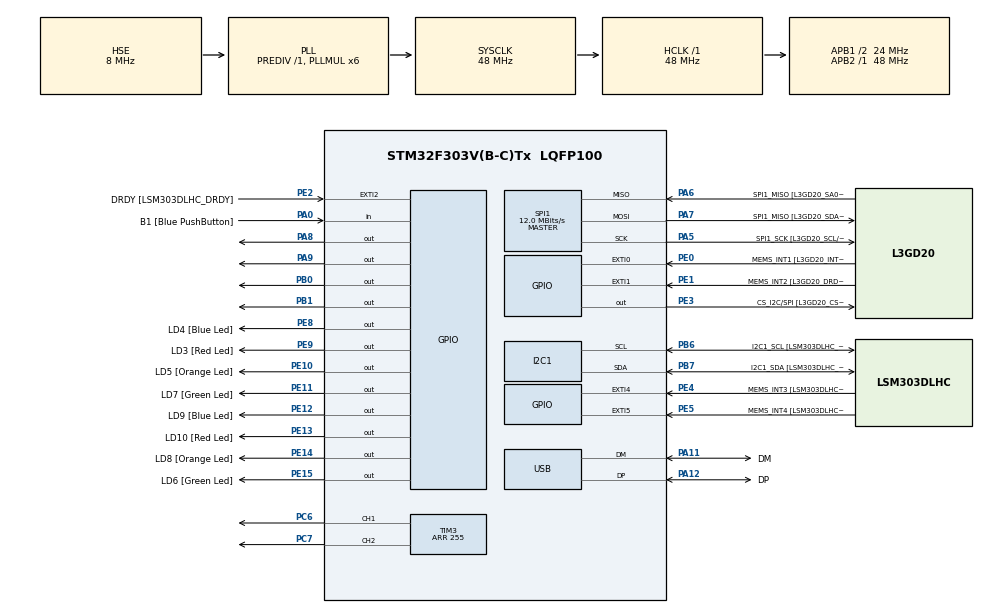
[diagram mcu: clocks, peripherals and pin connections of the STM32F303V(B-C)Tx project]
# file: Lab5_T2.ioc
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I2C1.Timing=0x2000090E
I2C1.Timing-I2C=0x2000090E
Mcu.Family=STM32F3
Mcu.Name=STM32F303V(B-C)Tx
Mcu.Package=LQFP100
NVIC.PriorityGroup=NVIC_PRIORITYGROUP_0
NVIC.TIM3_IRQn=true\:0\:0\:false\:false\:true\:true\:true\:true
PA0.GPIO_Label=B1 [Blue PushButton]
PA0.Signal=GPIO_Input
PA11.GPIO_Label=DM
PA11.Mode=Device
PA11.Signal=USB_DM
PA12.GPIO_Label=DP
PA12.Mode=Device
PA12.Signal=USB_DP
PA13.GPIO_Label=SWDIO
PA13.Mode=Serial_Wire
PA13.Signal=SYS_JTMS-SWDIO
PA14.GPIO_Label=SWCLK
PA14.Mode=Serial_Wire
PA14.Signal=SYS_JTCK-SWCLK
PA5.GPIO_Label=SPI1_SCK [L3GD20_SCL/SPC]
PA5.Mode=Full_Duplex_Master
PA5.Signal=SPI1_SCK
PA6.GPIO_Label=SPI1_MISO [L3GD20_SA0/SDO]
PA6.Mode=Full_Duplex_Master
PA6.Signal=SPI1_MISO
PA7.GPIO_Label=SPI1_MISO [L3GD20_SDA/SDI/SDO]
PA7.Mode=Full_Duplex_Master
PA7.Signal=SPI1_MOSI
PA8.Signal=GPIO_Output
PA9.Signal=GPIO_Output
PB0.Signal=GPIO_Output
PB1.Signal=GPIO_Output
PB3.GPIO_Label=SWO
PB3.Signal=SYS_JTDO-TRACESWO
PB6.GPIO_Label=I2C1_SCL [LSM303DLHC_SCL]
PB6.GPIO_Pu=GPIO_PULLUP
PB6.Mode=I2C
PB6.Signal=I2C1_SCL
PB7.GPIO_Label=I2C1_SDA [LSM303DLHC_SDA]
PB7.GPIO_Pu=GPIO_PULLUP
PB7.Mode=I2C
PB7.Signal=I2C1_SDA
PC14-OSC32_IN.GPIO_Label=OSC32_IN
PC14-OSC32_IN.Signal=RCC_OSC32_IN
PC15-OSC32_OUT.GPIO_Label=OSC32_OUT
PC15-OSC32_OUT.Signal=RCC_OSC32_OUT
PC6.Signal=S_TIM3_CH1
PC7.Signal=S_TIM3_CH2
PE0.GPIO_Label=MEMS_INT1 [L3GD20_INT1]
PE0.GPIO_ModeDefaultEXTI=GPIO_MODE_EVT_RISING
PE0.Signal=GPXTI0
PE1.GPIO_Label=MEMS_INT2 [L3GD20_DRDY/INT2]
PE1.GPIO_ModeDefaultEXTI=GPIO_MODE_EVT_RISING
PE1.Signal=GPXTI1
PE10.GPIO_Label=LD5 [Orange Led]
PE10.Signal=GPIO_Output
PE11.GPIO_Label=LD7 [Green Led]
PE11.Signal=GPIO_Output
PE12.GPIO_Label=LD9 [Blue Led]
PE12.Signal=GPIO_Output
PE13.GPIO_Label=LD10 [Red Led]
PE13.Signal=GPIO_Output
PE14.GPIO_Label=LD8 [Orange Led]
PE14.Signal=GPIO_Output
PE15.GPIO_Label=LD6 [Green Led]
PE15.Signal=GPIO_Output
PE2.GPIO_Label=DRDY [LSM303DLHC_DRDY]
PE2.GPIO_ModeDefaultEXTI=GPIO_MODE_EVT_RISING
PE2.Signal=GPXTI2
PE3.GPIO_Label=CS_I2C/SPI [L3GD20_CS_I2C/SPI]
PE3.Signal=GPIO_Output
PE4.GPIO_Label=MEMS_INT3 [LSM303DLHC_INT1]
PE4.GPIO_ModeDefaultEXTI=GPIO_MODE_EVT_RISING
PE4.Signal=GPXTI4
PE5.GPIO_Label=MEMS_INT4 [LSM303DLHC_INT2]
PE5.GPIO_ModeDefaultEXTI=GPIO_MODE_EVT_RISING
PE5.Signal=GPXTI5
PE8.GPIO_Label=LD4 [Blue Led]
PE8.Signal=GPIO_Output
PE9.GPIO_Label=LD3 [Red Led]
PE9.Signal=GPIO_Output
PF0-OSC_IN.GPIO_Label=OSC_IN
PF0-OSC_IN.Mode=HSE-External-Clock-Source
PF0-OSC_IN.Signal=RCC_OSC_IN
PF1-OSC_OUT.GPIO_Label=OSC_OUT
PF1-OSC_OUT.Signal=RCC_OSC_OUT
ProjectManager.HeapSize=0x200
ProjectManager.StackSize=0x400
ProjectManager.TargetToolchain=CMake
RCC.AHBFreq_Value=48000000
RCC.APB1CLKDivider=RCC_HCLK_DIV2
RCC.APB1Freq_Value=24000000
RCC.APB1TimFreq_Value=48000000
RCC.APB2Freq_Value=48000000
RCC.APB2TimFreq_Value=48000000
RCC.CortexFreq_Value=48000000
RCC.HCLKFreq_Value=48000000
RCC.HSE_VALUE=8000000
RCC.HSI_VALUE=8000000
RCC.LSE_VALUE=32768
RCC.PLLMUL=RCC_PLL_MUL6
RCC.SYSCLKFreq_VALUE=48000000
RCC.SYSCLKSourceVirtual=RCC_SYSCLKSOURCE_PLLCLK
RCC.USBFreq_Value=48000000
SH.S_TIM3_CH1.0=TIM3_CH1,PWM Generation1 CH1
SH.S_TIM3_CH2.0=TIM3_CH2,PWM Generation2 CH2
SPI1.BaudRatePrescaler=SPI_BAUDRATEPRESCALER_4
SPI1.BaudRatePrescaler-Full_Duplex_Master=SPI_BAUDRATEPRESCALER_2
SPI1.CalculateBaudRate=12.0 MBits/s
SPI1.CalculateBaudRate-Full_Duplex_Master=24.0 MBits/s
SPI1.Direction=SPI_DIRECTION_2LINES
SPI1.Mode=SPI_MODE_MASTER
SPI1.Mode-Full_Duplex_Master=SPI_MODE_MASTER
SPI1.VirtualType=VM_MASTER
TIM3.Channel-PWM\ Generation1\ CH1=TIM_CHANNEL_1
TIM3.Channel-PWM\ Generation2\ CH2=TIM_CHANNEL_2
TIM3.Period=255
board=STM32F3DISCOVERY

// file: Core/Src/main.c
/* USER CODE BEGIN Header */
/**
  ******************************************************************************
  * @file           : main.c
  * @brief          : Main program body
  ******************************************************************************
  * @attention
  *
  * Copyright (c) 2026 STMicroelectronics.
  * All rights reserved.
  *
  * This software is licensed under terms that can be found in the LICENSE file
  * in the root directory of this software component.
  * If no LICENSE file comes with this software, it is provided AS-IS.
  *
  ******************************************************************************
  */
/* USER CODE END Header */
#include "main.h"

I2C_HandleTypeDef hi2c1;
SPI_HandleTypeDef hspi1;
TIM_HandleTypeDef htim3;
PCD_HandleTypeDef hpcd_USB_FS;

/* USER CODE BEGIN PV */
uint8_t motor_speed = 0;
int8_t speed_direction = 1;
/* USER CODE END PV */

void SystemClock_Config(void);
static void MX_GPIO_Init(void);
static void MX_I2C1_Init(void);
static void MX_SPI1_Init(void);
static void MX_TIM3_Init(void);
static void MX_USB_PCD_Init(void);
/* USER CODE BEGIN PFP */
void set_motor_speed(uint8_t left_speed, uint8_t right_speed);
void set_motor_direction(uint8_t direction);
/* USER CODE END PFP */

int main(void)
{

  /* MCU Configuration--------------------------------------------------------*/

  /* Reset of all peripherals, Initializes the Flash interface and the Systick. */
  HAL_Init();

  /* Configure the system clock */
  SystemClock_Config();

  /* Initialize all configured peripherals */
  MX_GPIO_Init();
  MX_I2C1_Init();
  MX_SPI1_Init();
  MX_TIM3_Init();
  MX_USB_PCD_Init();
  /* USER CODE BEGIN 2 */

  // Start PWM for both motors
  HAL_TIM_PWM_Start(&htim3, TIM_CHANNEL_1);  // Left motor PWM (D9)
  HAL_TIM_PWM_Start(&htim3, TIM_CHANNEL_2);  // Right motor PWM (D10)

  // Set initial direction: FORWARD
  // D12 = HIGH, D8 = LOW for right motor forward
  // D7 = HIGH, D6 = LOW for left motor forward
  HAL_GPIO_WritePin(GPIOA, GPIO_PIN_8, GPIO_PIN_SET);   // D12 = HIGH (Right dir)
  HAL_GPIO_WritePin(GPIOA, GPIO_PIN_9, GPIO_PIN_RESET); // D8 = LOW (Right dir)
  HAL_GPIO_WritePin(GPIOB, GPIO_PIN_0, GPIO_PIN_SET);   // D7 = HIGH (Left dir)
  HAL_GPIO_WritePin(GPIOB, GPIO_PIN_1, GPIO_PIN_RESET); // D6 = LOW (Left dir)

  // Initial speed at 50%
  set_motor_speed(127, 127);

  HAL_Delay(1000); // Wait 1 second before starting ramp

  /* USER CODE END 2 */

  /* Infinite loop */
  /* USER CODE BEGIN WHILE */
  while (1)
  {
    // Ramp speed up and down continuously
    motor_speed += speed_direction;

    // Reverse direction at limits
    if (motor_speed >= 250) {
      speed_direction = -1;
    } else if (motor_speed <= 5) {
      speed_direction = 1;

      // Every time we hit bottom, change direction
      static uint8_t dir_counter = 0;
      dir_counter++;

      if (dir_counter % 2 == 0) {
        // FORWARD
        HAL_GPIO_WritePin(GPIOA, GPIO_PIN_8, GPIO_PIN_SET);
        HAL_GPIO_WritePin(GPIOA, GPIO_PIN_9, GPIO_PIN_RESET);
        HAL_GPIO_WritePin(GPIOB, GPIO_PIN_0, GPIO_PIN_SET);
        HAL_GPIO_WritePin(GPIOB, GPIO_PIN_1, GPIO_PIN_RESET);
      } else {
        // BACKWARD
        HAL_GPIO_WritePin(GPIOA, GPIO_PIN_8, GPIO_PIN_RESET);
        HAL_GPIO_WritePin(GPIOA, GPIO_PIN_9, GPIO_PIN_SET);
        HAL_GPIO_WritePin(GPIOB, GPIO_PIN_0, GPIO_PIN_RESET);
        HAL_GPIO_WritePin(GPIOB, GPIO_PIN_1, GPIO_PIN_SET);
      }
    }

    // Apply the current speed to both motors
    set_motor_speed(motor_speed, motor_speed);

    // Small delay for smooth ramp (adjust for desired ramp speed)
    HAL_Delay(20);

    /* USER CODE END WHILE */

  }
}

void SystemClock_Config(void)
{
  RCC_OscInitTypeDef RCC_OscInitStruct = {0};
  RCC_ClkInitTypeDef RCC_ClkInitStruct = {0};
  RCC_PeriphCLKInitTypeDef PeriphClkInit = {0};

  /** Initializes the RCC Oscillators according to the specified parameters
  * in the RCC_OscInitTypeDef structure.
  */
  RCC_OscInitStruct.OscillatorType = RCC_OSCILLATORTYPE_HSI|RCC_OSCILLATORTYPE_HSE;
  RCC_OscInitStruct.HSEState = RCC_HSE_BYPASS;
  RCC_OscInitStruct.HSEPredivValue = RCC_HSE_PREDIV_DIV1;
  RCC_OscInitStruct.HSIState = RCC_HSI_ON;
  RCC_OscInitStruct.HSICalibrationValue = RCC_HSICALIBRATION_DEFAULT;
  RCC_OscInitStruct.PLL.PLLState = RCC_PLL_ON;
  RCC_OscInitStruct.PLL.PLLSource = RCC_PLLSOURCE_HSE;
  RCC_OscInitStruct.PLL.PLLMUL = RCC_PLL_MUL6;
  if (HAL_RCC_OscConfig(&RCC_OscInitStruct) != HAL_OK)
  {
    Error_Handler();
  }

  /** Initializes the CPU, AHB and APB buses clocks
  */
  RCC_ClkInitStruct.ClockType = RCC_CLOCKTYPE_HCLK|RCC_CLOCKTYPE_SYSCLK
                              |RCC_CLOCKTYPE_PCLK1|RCC_CLOCKTYPE_PCLK2;
  RCC_ClkInitStruct.SYSCLKSource = RCC_SYSCLKSOURCE_PLLCLK;
  RCC_ClkInitStruct.AHBCLKDivider = RCC_SYSCLK_DIV1;
  RCC_ClkInitStruct.APB1CLKDivider = RCC_HCLK_DIV2;
  RCC_ClkInitStruct.APB2CLKDivider = RCC_HCLK_DIV1;

  if (HAL_RCC_ClockConfig(&RCC_ClkInitStruct, FLASH_LATENCY_1) != HAL_OK)
  {
    Error_Handler();
  }
  PeriphClkInit.PeriphClockSelection = RCC_PERIPHCLK_USB|RCC_PERIPHCLK_I2C1;
  PeriphClkInit.I2c1ClockSelection = RCC_I2C1CLKSOURCE_HSI;
  PeriphClkInit.USBClockSelection = RCC_USBCLKSOURCE_PLL;
  if (HAL_RCCEx_PeriphCLKConfig(&PeriphClkInit) != HAL_OK)
  {
    Error_Handler();
  }
}

static void MX_I2C1_Init(void)
{
  hi2c1.Instance = I2C1;
  hi2c1.Init.Timing = 0x2000090E;
  hi2c1.Init.OwnAddress1 = 0;
  hi2c1.Init.AddressingMode = I2C_ADDRESSINGMODE_7BIT;
  hi2c1.Init.DualAddressMode = I2C_DUALADDRESS_DISABLE;
  hi2c1.Init.OwnAddress2 = 0;
  hi2c1.Init.OwnAddress2Masks = I2C_OA2_NOMASK;
  hi2c1.Init.GeneralCallMode = I2C_GENERALCALL_DISABLE;
  hi2c1.Init.NoStretchMode = I2C_NOSTRETCH_DISABLE;
  if (HAL_I2C_Init(&hi2c1) != HAL_OK)
  {
    Error_Handler();
  }

  if (HAL_I2CEx_ConfigAnalogFilter(&hi2c1, I2C_ANALOGFILTER_ENABLE) != HAL_OK)
  {
    Error_Handler();
  }

  if (HAL_I2CEx_ConfigDigitalFilter(&hi2c1, 0) != HAL_OK)
  {
    Error_Handler();
  }
}

static void MX_SPI1_Init(void)
{
  hspi1.Instance = SPI1;
  hspi1.Init.Mode = SPI_MODE_MASTER;
  hspi1.Init.Direction = SPI_DIRECTION_2LINES;
  hspi1.Init.DataSize = SPI_DATASIZE_4BIT;
  hspi1.Init.CLKPolarity = SPI_POLARITY_LOW;
  hspi1.Init.CLKPhase = SPI_PHASE_1EDGE;
  hspi1.Init.NSS = SPI_NSS_SOFT;
  hspi1.Init.BaudRatePrescaler = SPI_BAUDRATEPRESCALER_4;
  hspi1.Init.FirstBit = SPI_FIRSTBIT_MSB;
  hspi1.Init.TIMode = SPI_TIMODE_DISABLE;
  hspi1.Init.CRCCalculation = SPI_CRCCALCULATION_DISABLE;
  hspi1.Init.CRCPolynomial = 7;
  hspi1.Init.CRCLength = SPI_CRC_LENGTH_DATASIZE;
  hspi1.Init.NSSPMode = SPI_NSS_PULSE_ENABLE;
  if (HAL_SPI_Init(&hspi1) != HAL_OK)
  {
    Error_Handler();
  }
}

static void MX_TIM3_Init(void)
{
  TIM_MasterConfigTypeDef sMasterConfig = {0};
  TIM_OC_InitTypeDef sConfigOC = {0};

  htim3.Instance = TIM3;
  htim3.Init.Prescaler = 0;
  htim3.Init.CounterMode = TIM_COUNTERMODE_UP;
  htim3.Init.Period = 255;
  htim3.Init.ClockDivision = TIM_CLOCKDIVISION_DIV1;
  htim3.Init.AutoReloadPreload = TIM_AUTORELOAD_PRELOAD_DISABLE;
  if (HAL_TIM_PWM_Init(&htim3) != HAL_OK)
  {
    Error_Handler();
  }
  sMasterConfig.MasterOutputTrigger = TIM_TRGO_RESET;
  sMasterConfig.MasterSlaveMode = TIM_MASTERSLAVEMODE_DISABLE;
  if (HAL_TIMEx_MasterConfigSynchronization(&htim3, &sMasterConfig) != HAL_OK)
  {
    Error_Handler();
  }
  sConfigOC.OCMode = TIM_OCMODE_PWM1;
  sConfigOC.Pulse = 0;
  sConfigOC.OCPolarity = TIM_OCPOLARITY_HIGH;
  sConfigOC.OCFastMode = TIM_OCFAST_DISABLE;
  if (HAL_TIM_PWM_ConfigChannel(&htim3, &sConfigOC, TIM_CHANNEL_1) != HAL_OK)
  {
    Error_Handler();
  }
  if (HAL_TIM_PWM_ConfigChannel(&htim3, &sConfigOC, TIM_CHANNEL_2) != HAL_OK)
  {
    Error_Handler();
  }
  HAL_TIM_MspPostInit(&htim3);
}

static void MX_USB_PCD_Init(void)
{
  hpcd_USB_FS.Instance = USB;
  hpcd_USB_FS.Init.dev_endpoints = 8;
  hpcd_USB_FS.Init.speed = PCD_SPEED_FULL;
  hpcd_USB_FS.Init.phy_itface = PCD_PHY_EMBEDDED;
  hpcd_USB_FS.Init.low_power_enable = DISABLE;
  hpcd_USB_FS.Init.battery_charging_enable = DISABLE;
  if (HAL_PCD_Init(&hpcd_USB_FS) != HAL_OK)
  {
    Error_Handler();
  }
}

static void MX_GPIO_Init(void)
{
  GPIO_InitTypeDef GPIO_InitStruct = {0};

  __HAL_RCC_GPIOE_CLK_ENABLE();
  __HAL_RCC_GPIOC_CLK_ENABLE();
  __HAL_RCC_GPIOF_CLK_ENABLE();
  __HAL_RCC_GPIOA_CLK_ENABLE();
  __HAL_RCC_GPIOB_CLK_ENABLE();

  HAL_GPIO_WritePin(GPIOE, CS_I2C_SPI_Pin|LD4_Pin|LD3_Pin|LD5_Pin
                          |LD7_Pin|LD9_Pin|LD10_Pin|LD8_Pin
                          |LD6_Pin, GPIO_PIN_RESET);

  HAL_GPIO_WritePin(GPIOB, GPIO_PIN_0|GPIO_PIN_1, GPIO_PIN_RESET);
  HAL_GPIO_WritePin(GPIOA, GPIO_PIN_8|GPIO_PIN_9, GPIO_PIN_RESET);

  GPIO_InitStruct.Pin = DRDY_Pin|MEMS_INT3_Pin|MEMS_INT4_Pin|MEMS_INT1_Pin
                          |MEMS_INT2_Pin;
  GPIO_InitStruct.Mode = GPIO_MODE_EVT_RISING;
  GPIO_InitStruct.Pull = GPIO_NOPULL;
  HAL_GPIO_Init(GPIOE, &GPIO_InitStruct);

  GPIO_InitStruct.Pin = CS_I2C_SPI_Pin|LD4_Pin|LD3_Pin|LD5_Pin
                          |LD7_Pin|LD9_Pin|LD10_Pin|LD8_Pin
                          |LD6_Pin;
  GPIO_InitStruct.Mode = GPIO_MODE_OUTPUT_PP;
  GPIO_InitStruct.Pull = GPIO_NOPULL;
  GPIO_InitStruct.Speed = GPIO_SPEED_FREQ_LOW;
  HAL_GPIO_Init(GPIOE, &GPIO_InitStruct);

  GPIO_InitStruct.Pin = B1_Pin;
  GPIO_InitStruct.Mode = GPIO_MODE_INPUT;
  GPIO_InitStruct.Pull = GPIO_NOPULL;
  HAL_GPIO_Init(B1_GPIO_Port, &GPIO_InitStruct);

  GPIO_InitStruct.Pin = GPIO_PIN_0|GPIO_PIN_1;
  GPIO_InitStruct.Mode = GPIO_MODE_OUTPUT_PP;
  GPIO_InitStruct.Pull = GPIO_NOPULL;
  GPIO_InitStruct.Speed = GPIO_SPEED_FREQ_LOW;
  HAL_GPIO_Init(GPIOB, &GPIO_InitStruct);

  GPIO_InitStruct.Pin = GPIO_PIN_8|GPIO_PIN_9;
  GPIO_InitStruct.Mode = GPIO_MODE_OUTPUT_PP;
  GPIO_InitStruct.Pull = GPIO_NOPULL;
  GPIO_InitStruct.Speed = GPIO_SPEED_FREQ_LOW;
  HAL_GPIO_Init(GPIOA, &GPIO_InitStruct);
}

/* USER CODE BEGIN 4 */
/**
  * @brief Set motor speed (0-255)
  * @param left_speed: Left motor speed (0-255)
  * @param right_speed: Right motor speed (0-255)
  */
void set_motor_speed(uint8_t left_speed, uint8_t right_speed) {
    // Clamp values to 0-255
    left_speed = (left_speed > 255) ? 255 : left_speed;
    right_speed = (right_speed > 255) ? 255 : right_speed;

    // Set PWM duty cycles
    __HAL_TIM_SET_COMPARE(&htim3, TIM_CHANNEL_1, left_speed);   // Left motor
    __HAL_TIM_SET_COMPARE(&htim3, TIM_CHANNEL_2, right_speed);  // Right motor
}

/**
  * @brief Set motor direction
  * @param direction: 0 = Stop, 1 = Forward, 2 = Backward
  */
void set_motor_direction(uint8_t direction) {
    switch(direction) {
        case 0: // STOP
            HAL_GPIO_WritePin(GPIOA, GPIO_PIN_8, GPIO_PIN_SET);
            HAL_GPIO_WritePin(GPIOA, GPIO_PIN_9, GPIO_PIN_SET);
            HAL_GPIO_WritePin(GPIOB, GPIO_PIN_0, GPIO_PIN_SET);
            HAL_GPIO_WritePin(GPIOB, GPIO_PIN_1, GPIO_PIN_SET);
            break;
        case 1: // FORWARD
            HAL_GPIO_WritePin(GPIOA, GPIO_PIN_8, GPIO_PIN_SET);   // D12 = HIGH
            HAL_GPIO_WritePin(GPIOA, GPIO_PIN_9, GPIO_PIN_RESET); // D8 = LOW
            HAL_GPIO_WritePin(GPIOB, GPIO_PIN_0, GPIO_PIN_SET);   // D7 = HIGH
            HAL_GPIO_WritePin(GPIOB, GPIO_PIN_1, GPIO_PIN_RESET); // D6 = LOW
            break;
        case 2: // BACKWARD
            HAL_GPIO_WritePin(GPIOA, GPIO_PIN_8, GPIO_PIN_RESET); // D12 = LOW
            HAL_GPIO_WritePin(GPIOA, GPIO_PIN_9, GPIO_PIN_SET);   // D8 = HIGH
            HAL_GPIO_WritePin(GPIOB, GPIO_PIN_0, GPIO_PIN_RESET); // D7 = LOW
            HAL_GPIO_WritePin(GPIOB, GPIO_PIN_1, GPIO_PIN_SET);   // D6 = HIGH
            break;
    }
}
/* USER CODE END 4 */

void Error_Handler(void) {
  __disable_irq();
  while (1) {}
}
